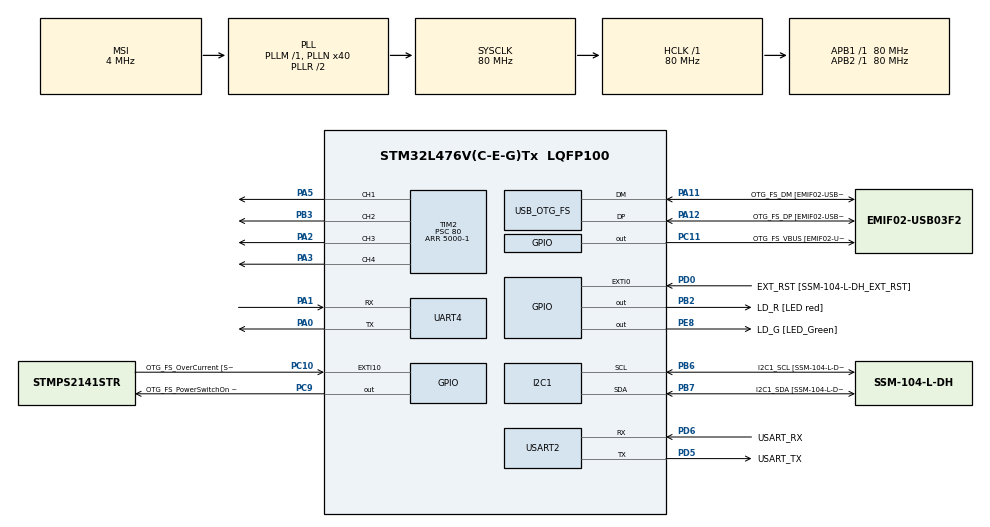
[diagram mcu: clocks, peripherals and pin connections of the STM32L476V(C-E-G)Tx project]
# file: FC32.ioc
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Dma.Request0=UART4_RX
Dma.UART4_RX.0.Direction=DMA_PERIPH_TO_MEMORY
Dma.UART4_RX.0.Instance=DMA2_Channel5
Dma.UART4_RX.0.MemDataAlignment=DMA_MDATAALIGN_BYTE
Dma.UART4_RX.0.MemInc=DMA_MINC_ENABLE
Dma.UART4_RX.0.Mode=DMA_CIRCULAR
Dma.UART4_RX.0.PeriphDataAlignment=DMA_PDATAALIGN_BYTE
Dma.UART4_RX.0.PeriphInc=DMA_PINC_DISABLE
Dma.UART4_RX.0.Priority=DMA_PRIORITY_LOW
I2C1.Timing=0x10909CEC
Mcu.Family=STM32L4
Mcu.Name=STM32L476V(C-E-G)Tx
Mcu.Package=LQFP100
NVIC.DMA2_Channel5_IRQn=true\:0\:0\:false\:false\:true\:false\:true\:true
NVIC.OTG_FS_IRQn=true\:0\:0\:false\:false\:true\:true\:true\:true
NVIC.PriorityGroup=NVIC_PRIORITYGROUP_4
PA0.Mode=Asynchronous
PA0.Signal=UART4_TX
PA1.Mode=Asynchronous
PA1.Signal=UART4_RX
PA11.GPIO_Label=OTG_FS_DM [EMIF02-USB03F2_D-out]
PA11.GPIO_Mode=GPIO_MODE_AF_PP
PA11.GPIO_PuPd=GPIO_NOPULL
PA11.GPIO_Speed=GPIO_SPEED_FREQ_VERY_HIGH
PA11.Mode=Device_Only
PA11.Signal=USB_OTG_FS_DM
PA12.GPIO_Label=OTG_FS_DP [EMIF02-USB03F2_D+out]
PA12.GPIO_Mode=GPIO_MODE_AF_PP
PA12.GPIO_PuPd=GPIO_NOPULL
PA12.GPIO_Speed=GPIO_SPEED_FREQ_VERY_HIGH
PA12.Mode=Device_Only
PA12.Signal=USB_OTG_FS_DP
PA13\ (JTMS-SWDIO).GPIO_Label=SWDIO
PA13\ (JTMS-SWDIO).Mode=Serial_Wire
PA13\ (JTMS-SWDIO).Signal=SYS_JTMS-SWDIO
PA14\ (JTCK-SWCLK).GPIO_Label=SWCLK
PA14\ (JTCK-SWCLK).Mode=Serial_Wire
PA14\ (JTCK-SWCLK).Signal=SYS_JTCK-SWCLK
PA2.Signal=S_TIM2_CH3
PA3.Signal=S_TIM2_CH4
PA5.Signal=S_TIM2_CH1
PB2.GPIO_Label=LD_R [LED red]
PB2.GPIO_ModeDefaultOutputPP=GPIO_MODE_OUTPUT_PP
PB2.GPIO_PuPd=GPIO_PULLUP
PB2.GPIO_Speed=GPIO_SPEED_FREQ_VERY_HIGH
PB2.Signal=GPIO_Output
PB3\ (JTDO-TRACESWO).Signal=S_TIM2_CH2
PB6.GPIO_FM6=__NULL
PB6.GPIO_Label=I2C1_SCL [SSM-104-L-DH_SCL]
PB6.GPIO_Mode=GPIO_MODE_AF_OD
PB6.GPIO_Pu=GPIO_PULLUP
PB6.GPIO_Speed=GPIO_SPEED_FREQ_VERY_HIGH
PB6.Mode=I2C
PB6.Signal=I2C1_SCL
PB7.GPIO_FM7=__NULL
PB7.GPIO_Label=I2C1_SDA [SSM-104-L-DH_SDA]
PB7.GPIO_Mode=GPIO_MODE_AF_OD
PB7.GPIO_Pu=GPIO_PULLUP
PB7.GPIO_Speed=GPIO_SPEED_FREQ_VERY_HIGH
PB7.Mode=I2C
PB7.Signal=I2C1_SDA
PC10.GPIO_Label=OTG_FS_OverCurrent [STMPS2141STR_FAULT]
PC10.GPIO_ModeDefaultEXTI=GPIO_MODE_EVT_RISING
PC10.GPIO_PuPd=GPIO_NOPULL
PC10.Signal=GPXTI10
PC11.GPIO_Label=OTG_FS_VBUS [EMIF02-USB03F2_Vbus]
PC11.GPIO_ModeDefaultOutputPP=GPIO_MODE_OUTPUT_PP
PC11.GPIO_PuPd=GPIO_NOPULL
PC11.GPIO_Speed=GPIO_SPEED_FREQ_LOW
PC11.Signal=GPIO_Output
PC14-OSC32_IN\ (PC14).Mode=LSE-External-Oscillator
PC14-OSC32_IN\ (PC14).Signal=RCC_OSC32_IN
PC15-OSC32_OUT\ (PC15).Mode=LSE-External-Oscillator
PC15-OSC32_OUT\ (PC15).Signal=RCC_OSC32_OUT
PC9.GPIO_Label=OTG_FS_PowerSwitchOn [STMPS2141STR_EN]
PC9.GPIO_ModeDefaultOutputPP=GPIO_MODE_OUTPUT_PP
PC9.GPIO_PuPd=GPIO_NOPULL
PC9.GPIO_Speed=GPIO_SPEED_FREQ_LOW
PC9.PinState=GPIO_PIN_SET
PC9.Signal=GPIO_Output
PD0.GPIO_Label=EXT_RST [SSM-104-L-DH_EXT_RST]
PD0.GPIO_ModeDefaultEXTI=GPIO_MODE_EVT_RISING
PD0.GPIO_PuPd=GPIO_NOPULL
PD0.Signal=GPXTI0
PD5.GPIO_Label=USART_TX
PD5.GPIO_Mode=GPIO_MODE_AF_PP
PD5.GPIO_PuPd=GPIO_PULLUP
PD5.GPIO_Speed=GPIO_SPEED_FREQ_VERY_HIGH
PD5.Mode=Asynchronous
PD5.Signal=USART2_TX
PD6.GPIO_Label=USART_RX
PD6.GPIO_Mode=GPIO_MODE_AF_PP
PD6.GPIO_PuPd=GPIO_PULLUP
PD6.GPIO_Speed=GPIO_SPEED_FREQ_VERY_HIGH
PD6.Mode=Asynchronous
PD6.Signal=USART2_RX
PE8.GPIO_Label=LD_G [LED_Green]
PE8.GPIO_ModeDefaultOutputPP=GPIO_MODE_OUTPUT_PP
PE8.GPIO_PuPd=GPIO_PULLUP
PE8.GPIO_Speed=GPIO_SPEED_FREQ_VERY_HIGH
PE8.Signal=GPIO_Output
PH0-OSC_IN\ (PH0).Mode=HSE-External-Oscillator
PH0-OSC_IN\ (PH0).Signal=RCC_OSC_IN
PH1-OSC_OUT\ (PH1).Mode=HSE-External-Oscillator
PH1-OSC_OUT\ (PH1).Signal=RCC_OSC_OUT
ProjectManager.HeapSize=0x200
ProjectManager.StackSize=0x400
ProjectManager.TargetToolchain=STM32CubeIDE
RCC.ADCFreq_Value=48000000
RCC.AHBFreq_Value=80000000
RCC.APB1Freq_Value=80000000
RCC.APB1TimFreq_Value=80000000
RCC.APB2Freq_Value=80000000
RCC.APB2TimFreq_Value=80000000
RCC.CortexFreq_Value=80000000
RCC.HCLKFreq_Value=80000000
RCC.HSE_VALUE=8000000
RCC.HSI_VALUE=16000000
RCC.MSI_VALUE=4000000
RCC.PLLN=40
RCC.PLLSAI1N=24
RCC.PREFETCH_ENABLE=1
RCC.SYSCLKFreq_VALUE=80000000
RCC.SYSCLKSource=RCC_SYSCLKSOURCE_PLLCLK
RCC.USBFreq_Value=48000000
RCC.VCOOutputFreq_Value=160000000
SH.S_TIM2_CH1.0=TIM2_CH1,PWM Generation1 CH1
SH.S_TIM2_CH2.0=TIM2_CH2,PWM Generation2 CH2
SH.S_TIM2_CH3.0=TIM2_CH3,PWM Generation3 CH3
SH.S_TIM2_CH4.0=TIM2_CH4,PWM Generation4 CH4
TIM2.AutoReloadPreload=TIM_AUTORELOAD_PRELOAD_ENABLE
TIM2.Channel-PWM\ Generation1\ CH1=TIM_CHANNEL_1
TIM2.Channel-PWM\ Generation2\ CH2=TIM_CHANNEL_2
TIM2.Channel-PWM\ Generation3\ CH3=TIM_CHANNEL_3
TIM2.Channel-PWM\ Generation4\ CH4=TIM_CHANNEL_4
TIM2.Period=5000-1
TIM2.Prescaler=80
TIM2.Pulse-PWM\ Generation3\ CH3=1000
TIM3.Period=6000
TIM3.Prescaler=80
USART2.VirtualMode-Asynchronous=VM_ASYNC
USB_DEVICE.CLASS_NAME_FS=CDC
USB_DEVICE.VirtualMode=Cdc
USB_DEVICE.VirtualModeFS=Cdc_FS
USB_OTG_FS.VirtualMode=Device_Only
VP_TIM2_VS_ClockSourceINT.Mode=Internal
VP_TIM3_VS_ClockSourceINT.Mode=Internal
VP_USB_DEVICE_VS_USB_DEVICE_CDC_FS.Mode=CDC_FS
board=STM32L476G-DISCO

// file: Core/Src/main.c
/* USER CODE BEGIN Header */
/**
 ******************************************************************************
 * @file           : main.c
 * @brief          : Main program body
 ******************************************************************************
 * @attention
 *
 * Copyright (c) 2024 STMicroelectronics.
 * All rights reserved.
 *
 * This software is licensed under terms that can be found in the LICENSE file
 * in the root directory of this software component.
 * If no LICENSE file comes with this software, it is provided AS-IS.
 *
 ******************************************************************************
 */
/* USER CODE END Header */
#include "main.h"
#include "dma.h"
#include "i2c.h"
#include "tim.h"
#include "usart.h"
#include "usb_device.h"
#include "gpio.h"

/* USER CODE BEGIN Includes */
#include "../../../USB_DEVICE/App/usbd_cdc_if.h"
#include "stdio.h"
#include <string.h>
#include "mpu6050.h"
#include <math.h>
#include "ibus.h"
/* USER CODE END Includes */

/* USER CODE BEGIN PTD */
#define IBUS_UART				(&huart4)
#define IBUS_USER_CHANNELS		6		// Use 6 channels
/* USER CODE END PTD */

void SystemClock_Config(void);
/* USER CODE BEGIN PFP */
void HAL_UART_RxCpltCallback(UART_HandleTypeDef *huart);
/* USER CODE END PFP */

/* USER CODE BEGIN 0 */
void HAL_UART_RxCpltCallback(UART_HandleTypeDef *huart) {
	if (huart == IBUS_UART)
		ibus_reset_failsafe(huart);
}
/* USER CODE END 0 */

int main(void)
{
  /* USER CODE BEGIN 1 */
	// PID gain and limit settings
	// Roll PID
	float pid_p_gain_roll = 1.3; // P-gain for roll PID controller
	float pid_i_gain_roll = 0.04; // I-gain for roll PID controller
	float pid_d_gain_roll = 18.0; // D-gain for roll PID controller
	int pid_max_roll = 400; // Maximum output of the roll PID controller (+/-)

	// Pitch PID (using same gains and limits as roll for simplicity)
	float pid_p_gain_pitch = pid_p_gain_roll;
	float pid_i_gain_pitch = pid_i_gain_roll;
	float pid_d_gain_pitch = pid_d_gain_roll;
	int pid_max_pitch = pid_max_roll;

	// Yaw PID
	float pid_p_gain_yaw = 4.0; // P-gain for yaw PID controller
	float pid_i_gain_yaw = 0.02; // I-gain for yaw PID controller
	float pid_d_gain_yaw = 0.0; // D-gain for yaw PID controller
	int pid_max_yaw = 400; // Maximum output of the yaw PID controller (+/-)

	// Other variables
	int16_t esc_1, esc_2, esc_3, esc_4; // ESC pulse values
	int16_t throttle; // Throttle input
	double gyro_pitch, gyro_roll, gyro_yaw; // Gyroscope measurements

	// Loop timing variables
	uint32_t time1,time2,timex;
	uint32_t loop_timer, error_timer;
	uint32_t startTime, endTime;
	uint32_t loopExecutionTime = 0;
	uint8_t error, error_counter, error_led;
	// PID variable
	float pid_error_temp;
	float pid_i_mem_roll, pid_roll_setpoint, gyro_roll_input, pid_output_roll,
			pid_last_roll_d_error;
	float pid_i_mem_pitch, pid_pitch_setpoint, gyro_pitch_input,
			pid_output_pitch, pid_last_pitch_d_error;
	float pid_i_mem_yaw, pid_yaw_setpoint, gyro_yaw_input, pid_output_yaw,
			pid_last_yaw_d_error;
	float roll_level_adjust, pitch_level_adjust;
	float angle_roll_acc, angle_pitch_acc, angle_pitch, angle_roll;
	float acc_x, acc_y, acc_z, acc_total_vector;

	// MPU6050 struct for gyro data
	MPU6050_t GYRO;

	// ibus variable for receiver inputs
	uint16_t ibus_data[IBUS_USER_CHANNELS];
	// Buffer for UART transmission
	char buf[120];
  /* USER CODE END 1 */

  /* MCU Configuration--------------------------------------------------------*/

  /* Reset of all peripherals, Initializes the Flash interface and the Systick. */
  HAL_Init();

  /* USER CODE BEGIN Init */
	void calculate_pid(void) {
		//Roll calculations
		pid_error_temp = gyro_roll_input - pid_roll_setpoint;
		pid_i_mem_roll += pid_i_gain_roll * pid_error_temp;

		//Limiting the I term
		if (pid_i_mem_roll > 100)
			pid_i_mem_roll = 100;
		else if (pid_i_mem_roll < 100 * -1)
			pid_i_mem_roll = 100 * -1;

		pid_output_roll = pid_p_gain_roll * pid_error_temp + pid_i_mem_roll + pid_d_gain_roll * (pid_error_temp - pid_last_roll_d_error);

		//Limiting the output
		if (pid_output_roll > pid_max_roll)
			pid_output_roll = pid_max_roll;
		else if (pid_output_roll < pid_max_roll * -1)
			pid_output_roll = pid_max_roll * -1;

		pid_last_roll_d_error = pid_error_temp;

		//Pitch calculations
		pid_error_temp = gyro_pitch_input - pid_pitch_setpoint;
		pid_i_mem_pitch += pid_i_gain_pitch * pid_error_temp;

		//Limiting the I term
		if (pid_i_mem_pitch > 100)
			pid_i_mem_pitch = 100;
		else if (pid_i_mem_pitch < 100 * -1)
			pid_i_mem_pitch = 100 * -1;

		pid_output_pitch = pid_p_gain_pitch * pid_error_temp + pid_i_mem_pitch + pid_d_gain_pitch * (pid_error_temp - pid_last_pitch_d_error);

		//Limiting the output
		if (pid_output_pitch > pid_max_pitch)
			pid_output_pitch = pid_max_pitch;
		else if (pid_output_pitch < pid_max_pitch * -1)
			pid_output_pitch = pid_max_pitch * -1;

		pid_last_pitch_d_error = pid_error_temp;

		//Yaw calculations
		pid_error_temp = gyro_yaw_input - pid_yaw_setpoint;
		pid_i_mem_yaw += pid_i_gain_yaw * pid_error_temp;

		if (pid_i_mem_yaw > 100)
			pid_i_mem_yaw = 100;
		else if (pid_i_mem_yaw < 100 * -1)
			pid_i_mem_yaw = 100 * -1;

		pid_output_yaw = pid_p_gain_yaw * pid_error_temp + pid_i_mem_yaw + pid_d_gain_yaw * (pid_error_temp - pid_last_yaw_d_error);

		//Limiting the output
		if (pid_output_yaw > pid_max_yaw)
			pid_output_yaw = pid_max_yaw;
		else if (pid_output_yaw < pid_max_yaw * -1)
			pid_output_yaw = pid_max_yaw * -1;

		pid_last_yaw_d_error = pid_error_temp;
	}

	/**
	  * @brief Read sensor data from MPU6050 and perform gyro-based signal processing
	  * @retval None
	  */
	void gyro_signalen() {
	    // Read all sensor data from MPU6050
	    MPU6050_Read_All(&hi2c1, &GYRO);

	    // Calculate gyro signal adjustments
	    gyro_roll = (GYRO.Gx - GYRO.Gx_cal);
	    gyro_pitch = (GYRO.Gy - GYRO.Gy_cal);
	    gyro_yaw = (GYRO.Gz - GYRO.Gz_cal);
	    acc_x = GYRO.Ax;
	    acc_y = GYRO.Ay;
	    acc_z = GYRO.Az;

	    // Calculate pitch and roll angles using gyro readings
	    angle_pitch += (float)gyro_pitch / 250;  // Calculate traveled pitch angle
	    angle_roll += (float)gyro_roll / 250;    // Calculate traveled roll angle

	    // Correct for yaw effect on pitch and roll angles
	    angle_pitch -= angle_roll * sin((float)gyro_yaw * 0.0000697778);  // Transfer roll angle to pitch angle if yawed
	    angle_roll += angle_pitch * sin((float)gyro_yaw * 0.0000697778);  // Transfer pitch angle to roll angle if yawed

	    // Calculate pitch and roll angles using accelerometer readings
	    acc_total_vector = sqrt((acc_x * acc_x) + (acc_y * acc_y) + (acc_z * acc_z));  // Calculate total accelerometer vector
	    if (abs(acc_y) < acc_total_vector) {
	        angle_pitch_acc = asin((float)acc_y / acc_total_vector) * 57.295;  // Calculate pitch angle
	    }
	    if (abs(acc_x) < acc_total_vector) {
	        angle_roll_acc = asin((float)acc_x / acc_total_vector) * 57.295;   // Calculate roll angle
	    }

	    // Correct gyro drift using accelerometer readings
	    angle_pitch = angle_pitch * 0.9996 + angle_pitch_acc * 0.0004;  // Correct gyro drift in pitch angle
	    angle_roll = angle_roll * 0.9996 + angle_roll_acc * 0.0004;     // Correct gyro drift in roll angle

	    // Calculate pitch and roll angle corrections
	    pitch_level_adjust = angle_pitch * 15;  // Calculate pitch angle correction
	    roll_level_adjust = angle_roll * 15;     // Calculate roll angle correction

	    // Transmit debug information
	    sprintf(buf, "angle_roll = %d angle_pitch = %d \n", (int)angle_roll, (int)angle_pitch);
	    int size = strlen(buf);
	    CDC_Transmit_FS((uint8_t*)buf, size);
	}

	//In this part the error LED signal is generated.
	void error_signal(void) {
		if (error >= 100)
			HAL_GPIO_WritePin(LD_R_GPIO_Port, LD_R_Pin, GPIO_PIN_SET);         //When the error is 100 the LED is always on.
		else if (error_timer < HAL_GetTick()) { //If the error_timer value is smaller that the millis() function.
			error_timer = HAL_GetTick() + 250; //Set the next error_timer interval at 250ms.
			if (error > 0 && error_counter > error + 3)
				error_counter = 0; //If there is an error to report and the error_counter > error +3 reset the error.
			if (error_counter < error && error_led == 0 && error > 0) { //If the error flash sequence isn't finisched (error_counter < error) and the LED is off.
				HAL_GPIO_WritePin(LD_R_GPIO_Port, LD_R_Pin, GPIO_PIN_SET);                                //Turn the LED on.
				error_led = 1; //Set the LED flag to indicate that the LED is on.
			} else { //If the error flash sequence isn't finisched (error_counter < error) and the LED is on.
				HAL_GPIO_WritePin(LD_R_GPIO_Port, LD_R_Pin, GPIO_PIN_RESET);                                //Turn the LED off.
				error_counter++; //Increment the error_counter variable by 1 to keep trach of the flashes.
				error_led = 0; //Set the LED flag to indicate that the LED is off.
			}
		}
	}

	//Variable Initialization
		ibus_data[0]=0;
		ibus_data[1]=0;
		ibus_data[2]=0;
		ibus_data[3]=0;
  /* USER CODE END Init */

  /* Configure the system clock */
  SystemClock_Config();

  /* Initialize all configured peripherals */
  MX_GPIO_Init();
  MX_DMA_Init();
  MX_I2C1_Init();
  MX_USART2_UART_Init();
  MX_USB_DEVICE_Init();
  MX_TIM2_Init();
  MX_UART4_Init();
  MX_TIM3_Init();
  /* USER CODE BEGIN 2 */
	HAL_Init();
	ibus_init();
	HAL_GPIO_WritePin(LD_R_GPIO_Port, LD_R_Pin, GPIO_PIN_RESET);
	int size = 0;
	error = MPU6050_Init(&hi2c1);

	while (error != 0) {
		sprintf(buf, "GYRO NOT INIT\n");
		size = strlen(buf);
		CDC_Transmit_FS((uint8_t*) buf, size);
		error_signal();
		HAL_Delay(4);
	}

	sprintf(buf, "GYRO Inititialized\n");
	size = strlen(buf);
	CDC_Transmit_FS((uint8_t*) buf, size);

	HAL_TIM_PWM_Start(&htim2, TIM_CHANNEL_1);
	HAL_TIM_PWM_Start(&htim2, TIM_CHANNEL_2);
	HAL_TIM_PWM_Start(&htim2, TIM_CHANNEL_3);
	HAL_TIM_PWM_Start(&htim2, TIM_CHANNEL_4);
	TIM2->CCR1 = 800; // PIN
	TIM2->CCR2 = 800;
	TIM2->CCR3 = 800;
	TIM2->CCR4 = 800;
	sprintf(buf, "Calibration...\n");
	size = strlen(buf);
	CDC_Transmit_FS((uint8_t*) buf, size);
	MPU6050_Calibrate(&hi2c1, &GYRO, 0);
	HAL_Delay(50);
	//Read RC command
	ibus_read(ibus_data);
	ibus_soft_failsafe(ibus_data, 10); // if ibus is not updated, clear ibus data.
	//Wait until the receiver is active.
	  while (ibus_data[0] < 990 || ibus_data[1] < 990 || ibus_data[2] < 990 || ibus_data[3] < 990)  {
	    error = 3;                                                  //Set the error status to 3.
	    error_signal();                                             //Show the error via the red LED.
	    ibus_read(ibus_data);
	    ibus_soft_failsafe(ibus_data, 10); // if ibus is not updated, clear ibus data.
		HAL_GPIO_WritePin(LD_R_GPIO_Port, LD_R_Pin, GPIO_PIN_SET);
	    HAL_Delay(4);
	  }

	  while (ibus_data[2] < 990 || ibus_data[2] < 990)  {
	     error = 4;                                                  //Set the error status to 4.
	     error_signal();                                             //Show the error via the red LED.
	     HAL_Delay(4);
	     HAL_GPIO_WritePin(LD_R_GPIO_Port, LD_R_Pin, GPIO_PIN_SET);
	   }
	   error = 0;                                                    //Reset the error status to 0.

	   //When everything is done, turn off the led.
	HAL_GPIO_WritePin(LD_R_GPIO_Port, LD_R_Pin, GPIO_PIN_RESET);
	roll_level_adjust=0;
	pitch_level_adjust=0;
	HAL_Delay(100);
	sprintf(buf, "Quadcopter Functional\n");
	size = strlen(buf);
	CDC_Transmit_FS((uint8_t*) buf, size);
	pid_pitch_setpoint = 0;
	pid_yaw_setpoint = 0;
	pid_roll_setpoint = 0;

	gyro_roll_input = 0;
	gyro_pitch_input = 0;
	gyro_yaw_input = 0;

	pid_error_temp = 0;

	pid_i_mem_pitch = 0;
	pid_i_mem_roll = 0;
	pid_i_mem_yaw = 0;

	pid_last_pitch_d_error = 0;
	pid_last_yaw_d_error = 0;
	pid_last_roll_d_error = 0;

	pid_i_mem_roll = 0;
	pid_last_roll_d_error = 0;
	pid_i_mem_pitch = 0;
	pid_last_pitch_d_error = 0;
	pid_i_mem_yaw = 0;
	pid_last_yaw_d_error = 0;

	pid_roll_setpoint = 0;
	pid_yaw_setpoint = 0;
	pid_pitch_setpoint = 0;

	angle_pitch=0;
	angle_roll=0;
	HAL_TIM_Base_Init(&htim3);
	HAL_TIM_Base_Start(&htim3);              //initiate the loop timer counter

  /* USER CODE END 2 */

  /* Infinite loop */
  /* USER CODE BEGIN WHILE */
	while (1) {
		TIM3->CNT = 0;
		time1=TIM3->CNT;

		ibus_read(ibus_data);
		ibus_soft_failsafe(ibus_data, 10); // if ibus is not updated, clear ibus data.

		//Let's get the current gyro data and scale it to degrees per second for the pid calculations.
		gyro_signalen();

		//The PID set point in degrees per second is determined by the roll receiver input.
		//In the case of deviding by 3 the max roll rate is aprox 164 degrees per second ( (500-8)/3 = 164d/s ).
		pid_roll_setpoint = 0;
		//We need a little dead band of 16us for better results.
		if(ibus_data[0]<1508 && ibus_data[0]>1492)
			pid_roll_setpoint = 0;
		else if (ibus_data[0] > 1508)
			pid_roll_setpoint = ibus_data[0] - 1508;
		else if (ibus_data[0] < 1492)
			pid_roll_setpoint = ibus_data[0] - 1492;

		pid_roll_setpoint -= roll_level_adjust;
		pid_roll_setpoint /= 3; //Divide the setpoint for the PID roll controller by 3 to get angles in degrees.

		//The PID set point in degrees per second is determined by the pitch receiver input.
		//In the case of deviding by 3 the max pitch rate is aprox 164 degrees per second ( (500-8)/3 = 164d/s ).
		pid_pitch_setpoint = 0;
		//We need a little dead band of 16us for better results.
		if (ibus_data[1] < 1508 && ibus_data[1] > 1492)
			pid_pitch_setpoint = 0;
		else if (ibus_data[1] > 1508)
			pid_pitch_setpoint = ibus_data[1] - 1508;
		else if (ibus_data[1] < 1492)
			pid_pitch_setpoint = ibus_data[1] - 1492;

		pid_pitch_setpoint -= pitch_level_adjust; //Subtract the angle correction from the standardized receiver pitch input value.
		pid_pitch_setpoint /= 3; //Divide the setpoint for the PID pitch controller by 3 to get angles in degrees.

		//The PID set point in degrees per second is determined by the yaw receiver input.
		//In the case of deviding by 3 the max yaw rate is aprox 164 degrees per second ( (500-8)/3 = 164d/s ).
		pid_yaw_setpoint = 0;
		//We need a little dead band of 16us for better results.
		if (ibus_data[3] > 1050) { //Do not yaw when turning off the motors.
			if (ibus_data[3] < 1508 && ibus_data[3] > 1492)
				pid_yaw_setpoint = 0;
			else if (ibus_data[3] > 1508)
				pid_yaw_setpoint = ibus_data[3] - 1508;
			else if (ibus_data[3] < 1492)
				pid_yaw_setpoint = ibus_data[3] - 1492;
		}

		gyro_roll_input = (gyro_roll_input * 0.7) + (((float) gyro_roll) * 0.3); //Gyro pid input is deg/sec.

		gyro_pitch_input = (gyro_pitch_input * 0.7) + (((float) gyro_pitch) * 0.3); //Gyro pid input is deg/sec.

		gyro_yaw_input = (gyro_yaw_input * 0.7) + (((float) gyro_yaw) * 0.3); //Gyro pid input is deg/sec.

		calculate_pid();
		throttle = ibus_data[2];
		if (throttle > 1800)
			throttle = 1800;

		/**
		 * Calculate motor speed for each motor of an X quadcopter depending on received instructions and measures from sensor
		 * by applying PID control.
		 *
		 * (2) (1)            x
		 *   \ /            z ↑
		 *    X              \|
		 *   / \        y <---+
		 * (3) (4)
		 *
		 * Motors 1 & 3 run CCW
		 * Motors 2 & 4 run CW
		 *
		 * Each motor output is considered as a servomotor. As a result, value range is about 1000µs to 2000µs
		 */

		esc_1 = throttle + pid_output_pitch + pid_output_roll + pid_output_yaw; //Calculate the pulse for esc 1 (front-right - CCW).
		esc_2 = throttle + pid_output_pitch - pid_output_roll - pid_output_yaw; //Calculate the pulse for esc 2 (rear-right - CW).
		esc_3 = throttle - pid_output_pitch - pid_output_roll + pid_output_yaw; //Calculate the pulse for esc 3 (rear-left - CCW).
		esc_4 = throttle - pid_output_pitch + pid_output_roll - pid_output_yaw; //Calculate the pulse for esc 4 (front-left - CW).

		if (esc_1 < 1100)
			esc_1 = 1100;                             //Keep the motors running.
		if (esc_2 < 1100)
			esc_2 = 1100;                             //Keep the motors running.
		if (esc_3 < 1100)
			esc_3 = 1100;                             //Keep the motors running.
		if (esc_4 < 1100)
			esc_4 = 1100;                             //Keep the motors running.

		if (esc_1 > 2000)
			esc_1 = 2000;                     //Limit the esc-1 pulse to 2000us.
		if (esc_2 > 2000)
			esc_2 = 2000;                     //Limit the esc-2 pulse to 2000us.
		if (esc_3 > 2000)
			esc_3 = 2000;                     //Limit the esc-3 pulse to 2000us.
		if (esc_4 > 2000)
			esc_4 = 2000;                     //Limit the esc-4 pulse to 2000us.

		TIM2->CCR1 = esc_1; //Set the throttle receiver input pulse to the ESC 1 output pulse.
		TIM2->CCR2 = esc_2; //Set the throttle receiver input pulse to the ESC 2 output pulse.
		TIM2->CCR3 = esc_3; //Set the throttle receiver input pulse to the ESC 3 output pulse.
		TIM2->CCR4 = esc_4; //Set the throttle receiver input pulse to the ESC 4 output pulse.

		HAL_GPIO_WritePin(LD_R_GPIO_Port, LD_R_Pin, GPIO_PIN_SET);

		timex=TIM3->CNT-time1;       //how much time did it take the code to come here
		while(TIM3->CNT-time1<=4000);
		HAL_GPIO_WritePin(LD_R_GPIO_Port, LD_R_Pin, GPIO_PIN_RESET);
		time2=(TIM3->CNT-time1);
		//how much time did the main loop take
		/* DATA SENDING */

		//sprintf(buf, "Ax = %d  Ay = %d\n", (int) GYRO.KalmanAngleX, (int) GYRO.KalmanAngleY);
		//sprintf(buf, " gyro_roll = %d gyro_pitch = %d  gyro_yaw = %d\n", (int) pid_output_roll, (int) pid_output_pitch, (int) pid_output_yaw);
		//sprintf(buf, " esc_1 = %d esc_2 = %d  esc_3 = %d esc_4 = %d\n", (int) ibus_data[0], (int) ibus_data[1], (int) ibus_data[2], (int) ibus_data[3]);
		//sprintf(buf, "roll = %d pitch = %d yaw = %d roll = %d pitch = %d yaw = %d\n",(int) gyro_roll_input,(int) gyro_pitch_input,(int) gyro_yaw_input, (int) pid_output_roll, (int) pid_output_pitch, (int) pid_output_yaw);
		//size = strlen(buf);
		//CDC_Transmit_FS((uint8_t*) buf, size);

    /* USER CODE END WHILE */

	}
}

void SystemClock_Config(void)
{
  RCC_OscInitTypeDef RCC_OscInitStruct = {0};
  RCC_ClkInitTypeDef RCC_ClkInitStruct = {0};

  /** Configure the main internal regulator output voltage
  */
  if (HAL_PWREx_ControlVoltageScaling(PWR_REGULATOR_VOLTAGE_SCALE1) != HAL_OK)
  {
    Error_Handler();
  }

  /** Configure LSE Drive Capability
  */
  HAL_PWR_EnableBkUpAccess();
  __HAL_RCC_LSEDRIVE_CONFIG(RCC_LSEDRIVE_LOW);

  /** Initializes the RCC Oscillators according to the specified parameters
  * in the RCC_OscInitTypeDef structure.
  */
  RCC_OscInitStruct.OscillatorType = RCC_OSCILLATORTYPE_LSE|RCC_OSCILLATORTYPE_MSI;
  RCC_OscInitStruct.LSEState = RCC_LSE_ON;
  RCC_OscInitStruct.MSIState = RCC_MSI_ON;
  RCC_OscInitStruct.MSICalibrationValue = 0;
  RCC_OscInitStruct.MSIClockRange = RCC_MSIRANGE_6;
  RCC_OscInitStruct.PLL.PLLState = RCC_PLL_ON;
  RCC_OscInitStruct.PLL.PLLSource = RCC_PLLSOURCE_MSI;
  RCC_OscInitStruct.PLL.PLLM = 1;
  RCC_OscInitStruct.PLL.PLLN = 40;
  RCC_OscInitStruct.PLL.PLLP = RCC_PLLP_DIV7;
  RCC_OscInitStruct.PLL.PLLQ = RCC_PLLQ_DIV2;
  RCC_OscInitStruct.PLL.PLLR = RCC_PLLR_DIV2;
  if (HAL_RCC_OscConfig(&RCC_OscInitStruct) != HAL_OK)
  {
    Error_Handler();
  }

  /** Initializes the CPU, AHB and APB buses clocks
  */
  RCC_ClkInitStruct.ClockType = RCC_CLOCKTYPE_HCLK|RCC_CLOCKTYPE_SYSCLK
                              |RCC_CLOCKTYPE_PCLK1|RCC_CLOCKTYPE_PCLK2;
  RCC_ClkInitStruct.SYSCLKSource = RCC_SYSCLKSOURCE_PLLCLK;
  RCC_ClkInitStruct.AHBCLKDivider = RCC_SYSCLK_DIV1;
  RCC_ClkInitStruct.APB1CLKDivider = RCC_HCLK_DIV1;
  RCC_ClkInitStruct.APB2CLKDivider = RCC_HCLK_DIV1;

  if (HAL_RCC_ClockConfig(&RCC_ClkInitStruct, FLASH_LATENCY_4) != HAL_OK)
  {
    Error_Handler();
  }

  /** Enable MSI Auto calibration
  */
  HAL_RCCEx_EnableMSIPLLMode();
}

void Error_Handler(void)
{
	__disable_irq();
	while (1) {
	}
}
